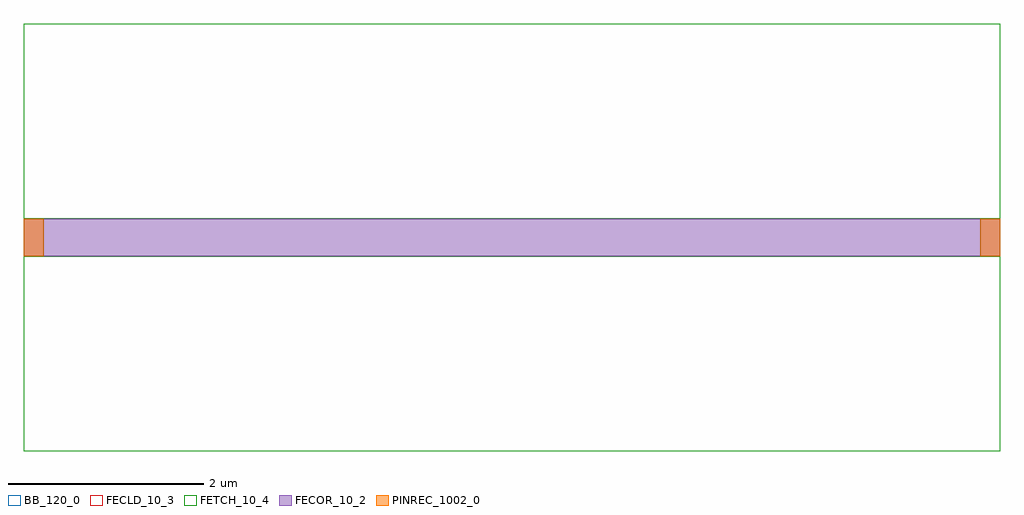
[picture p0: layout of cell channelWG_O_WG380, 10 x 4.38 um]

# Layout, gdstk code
import gdstk
lib = gdstk.Library(unit=1e-6, precision=1e-09)
def R(c, l, rs):  # rectangles x0, y0, x1, y1
    for r in rs: c.add(gdstk.rectangle(r[:2], r[2:], *l))
FECOR_10_2 = (10, 2)
FECLD_10_3 = (10, 3)
FETCH_10_4 = (10, 4)
BB_120_0 = (120, 0)
PINREC_1002_0 = (1002, 0)

channelwg_o_wg380 = lib.new_cell('channelWG_O_WG380')
R(channelwg_o_wg380, FECOR_10_2, [(0,0,10,0.38)])
R(channelwg_o_wg380, FECLD_10_3, [(0,-2,10,2.38)])
R(channelwg_o_wg380, FETCH_10_4, [(0,-2,10,0), (0,0.38,10,2.38)])
R(channelwg_o_wg380, BB_120_0, [(0,-2,10,2.38)])
R(channelwg_o_wg380, PINREC_1002_0, [(0,0,0.2,0.38), (9.8,0,10,0.38)])

lib.write_gds('channelWG_O_WG380.gds')
